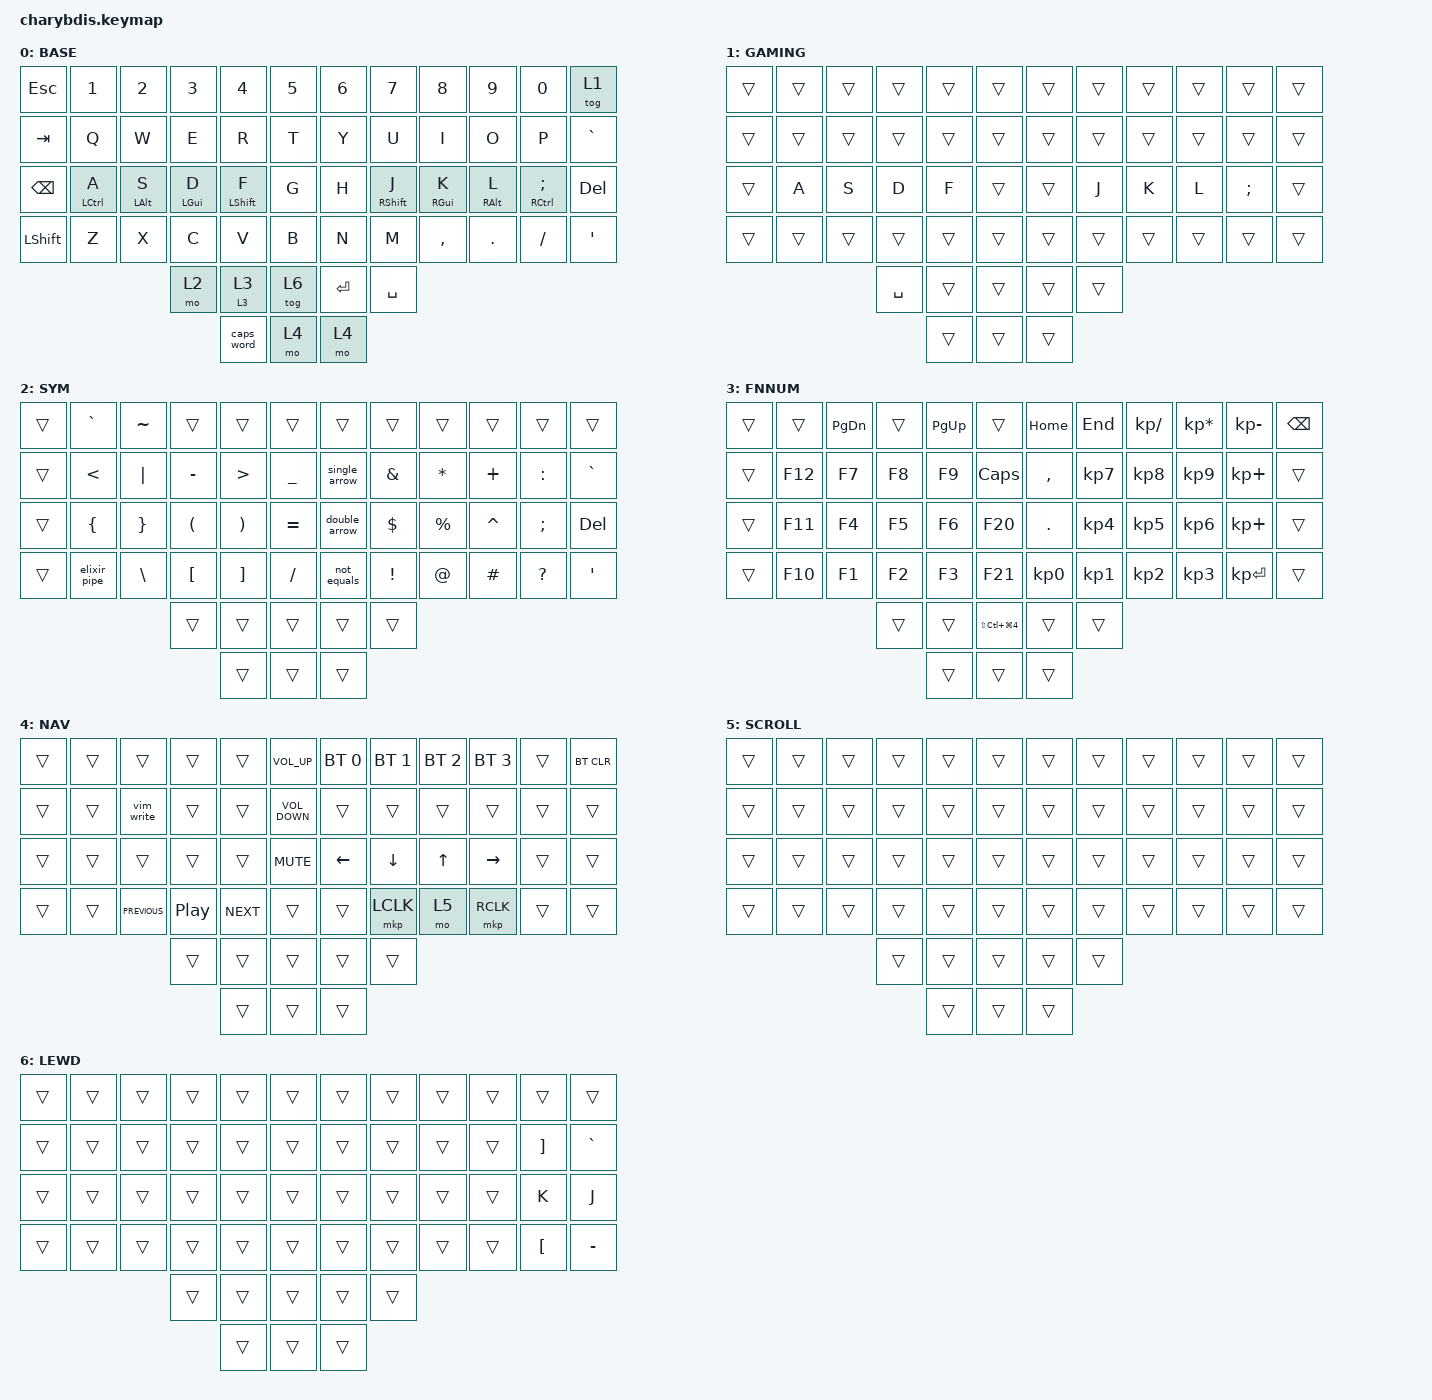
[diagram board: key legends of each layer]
#include <dt-bindings/zmk/mouse.h>
#include <behaviors/mouse_keys.dtsi>
#include <behaviors.dtsi>
#include <dt-bindings/zmk/bt.h>
#include <dt-bindings/zmk/keys.h>
#include <dt-bindings/zmk/pointing.h>

#define Base    0
#define Gaming  1
#define Sym     2
#define FNNum   3
#define Nav     4
#define Scroll  5
#define Lewd    6
// All left/right positions
#define KEYS_L 0  1  2  3  4  5  12 13 14 15 16 17 24 25 26 27 28 29 36 37 38 39 40 41
#define KEYS_R 6  7  8  9  10 11 18 19 20 21 22 23 30 31 32 33 34 35 42 43 44 45 46 47
#define THUMBS 48 49 50 51 52 53 54 55

// Non-HRM keys per side (excludes only the home row mod positions to prevent same-hand roll misfires)
// Left HRMs: A=25 S=26 D=27 F=28 | Right HRMs: J=31 K=32 L=33 SEMI=34
#define KEYS_L_NON_HRM 0 1 2 3 4 5 12 13 14 15 16 17 24 29 36 37 38 39 40 41
#define KEYS_R_NON_HRM 6 7 8 9 10 11 18 19 20 21 22 23 30 35 42 43 44 45 46 47

/ {
    /* trackball as cursor on base and nav layers */

    trackball_listener {
        compatible = "zmk,input-behavior-listener";
        device = <&trackball>;
        layers = <Nav>;
        evt-type = <INPUT_EV_REL>;
        x-input-code = <INPUT_REL_X>;
        y-input-code = <INPUT_REL_Y>;
        scale-multiplier = <1>;
        scale-divisor = <2>;
    };

    trackball_scroll_listener {
        compatible = "zmk,input-behavior-listener";
        device = <&trackball>;
        layers = <Scroll>;
        evt-type = <INPUT_EV_REL>;
        x-input-code = <INPUT_REL_MISC>;
        y-input-code = <INPUT_REL_WHEEL>;
        scale-multiplier = <1>;
        scale-divisor = <8>;
        y-invert;
        bindings = <&ib_wheel_scaler 1 28>;
    };

    ib_wheel_scaler: ib_wheel_scaler {
        compatible = "zmk,input-behavior-scaler";
        #binding-cells = <2>;
        evt-type = <INPUT_EV_REL>;
        input-code = <INPUT_REL_WHEEL>;
    };

    macros {
        vim_write: vim_write {
            compatible = "zmk,behavior-macro";
            #binding-cells = <0>;
            bindings = <&kp COLON &kp W &kp ENTER>;
            label = "VIM_WRITE";
        };

        single_arrow: single_arrow {
            compatible = "zmk,behavior-macro";
            #binding-cells = <0>;
            bindings = <&kp MINUS &kp GREATER_THAN>;
            label = "SINGLE_ARROW";
        };

        double_arrow: double_arrow {
            compatible = "zmk,behavior-macro";
            #binding-cells = <0>;
            bindings = <&kp EQUAL &kp GREATER_THAN>;
            label = "DOUBLE_ARROW";
        };

        elixir_pipe: elixir_pipe {
            compatible = "zmk,behavior-macro";
            #binding-cells = <0>;
            bindings = <&kp PIPE &kp GREATER_THAN>;
            label = "ELIXIR_PIPE";
        };

        not_equals: not_equals {
            compatible = "zmk,behavior-macro";
            #binding-cells = <0>;
            bindings = <&kp EXCLAMATION &kp EQUAL>;
            label = "NOT_EQUALS";
        };
    };

    behaviors {
        hml: home_row_mod_left {
            compatible = "zmk,behavior-hold-tap";
            #binding-cells = <2>;
            flavor = "balanced";
            tapping-term-ms = <250>;
            quick-tap-ms = <175>;
            require-prior-idle-ms = <130>;
            bindings = <&kp>, <&kp>;

            hold-trigger-key-positions = <KEYS_R KEYS_L_NON_HRM THUMBS>;
            hold-trigger-on-release;
        };

        hmr: home_row_mod_right {
            compatible = "zmk,behavior-hold-tap";
            #binding-cells = <2>;
            flavor = "balanced";
            tapping-term-ms = <250>;
            quick-tap-ms = <175>;
            require-prior-idle-ms = <130>;
            bindings = <&kp>, <&kp>;

            hold-trigger-key-positions = <KEYS_L KEYS_R_NON_HRM THUMBS>;
            hold-trigger-on-release;
        };

        mo_tog: mo_tog {
            compatible = "zmk,behavior-hold-tap";
            label = "MO_TOG";
            bindings = <&mo>, <&tog>;

            #binding-cells = <2>;
            tapping-term-ms = <200>;
        };
    };

    keymap {
        compatible = "zmk,keymap";

        Base {
            label = "BASE";
            bindings = <
&kp ESC        &kp N1        &kp N2       &kp N3       &kp N4        &kp N5    &kp N6     &kp N7        &kp N8       &kp N9       &kp N0           &tog 1
&kp TAB        &kp Q         &kp W        &kp E        &kp R         &kp T     &kp Y      &kp U         &kp I        &kp O        &kp P            &kp GRAVE
&kp BACKSPACE  &hml LCTRL A  &hml LALT S  &hml LGUI D  &hml LSHFT F  &kp G     &kp H      &hmr RSHFT J  &hmr RGUI K  &hmr RALT L  &hmr RCTRL SEMI  &kp DEL
&kp LSHFT      &kp Z         &kp X        &kp C        &kp V         &kp B     &kp N      &kp M         &kp COMMA    &kp DOT      &kp FSLH         &kp SINGLE_QUOTE
                                          &mo 2        &mo_tog 3 3   &tog 6    &kp ENTER  &kp SPACE
                                                       &caps_word    &mo 4     &mo 4
            >;
        };

        Gaming {
            label = "GAMING";
            bindings = <
&trans  &trans  &trans  &trans     &trans  &trans    &trans  &trans  &trans  &trans  &trans         &trans
&trans  &trans  &trans  &trans     &trans  &trans    &trans  &trans  &trans  &trans  &trans         &trans
&trans  &kp A   &kp S   &kp D      &kp F   &trans    &trans  &kp J   &kp K   &kp L   &kp SEMICOLON  &trans
&trans  &trans  &trans  &trans     &trans  &trans    &trans  &trans  &trans  &trans  &trans         &trans
                        &kp SPACE  &trans  &trans    &trans  &trans
                                   &trans  &trans    &trans
            >;
        };

        Symbols {
            label = "SYM";
            bindings = <
&trans  &kp GRAVE       &kp TILDE        &trans                &trans                 &trans       &trans         &trans           &trans        &trans     &trans        &trans
&trans  &kp LESS_THAN   &kp PIPE         &kp MINUS             &kp GREATER_THAN       &kp UNDER    &single_arrow  &kp AMPERSAND    &kp ASTERISK  &kp PLUS   &kp COLON     &kp GRAVE
&trans  &kp LEFT_BRACE  &kp RIGHT_BRACE  &kp LEFT_PARENTHESIS  &kp RIGHT_PARENTHESIS  &kp EQUAL    &double_arrow  &kp DOLLAR       &kp PERCENT   &kp CARET  &kp SEMI      &kp DEL
&trans  &elixir_pipe    &kp BSLH         &kp LBKT              &kp RBKT               &kp FSLH     &not_equals    &kp EXCLAMATION  &kp AT        &kp HASH   &kp QUESTION  &kp SQT
                                         &trans                &trans                 &trans       &trans         &trans
                                                               &trans                 &trans       &trans
            >;
        };

        FNNum {
            label = "FNNUM";
            bindings = <
&trans  &trans   &kp PAGE_DOWN  &trans  &kp PAGE_UP  &trans                      &kp HOME         &kp END          &kp KP_DIVIDE    &kp KP_MULTIPLY  &kp KP_SUBTRACT  &kp BACKSPACE
&trans  &kp F12  &kp F7         &kp F8  &kp F9       &kp CAPS                    &kp COMMA        &kp KP_NUMBER_7  &kp KP_NUMBER_8  &kp KP_NUMBER_9  &kp KP_PLUS      &trans
&trans  &kp F11  &kp F4         &kp F5  &kp F6       &kp F20                     &kp PERIOD       &kp KP_NUMBER_4  &kp KP_NUMBER_5  &kp KP_NUMBER_6  &kp KP_PLUS      &trans
&trans  &kp F10  &kp F1         &kp F2  &kp F3       &kp F21                     &kp KP_NUMBER_0  &kp KP_NUMBER_1  &kp KP_NUMBER_2  &kp KP_NUMBER_3  &kp KP_ENTER     &trans
                                &trans  &trans       &kp LS(LC(LG(NUMBER_4)))    &trans           &trans
                                        &trans       &trans                      &trans
            >;
        };

        Nav {
            label = "NAV";
            bindings = <
&trans  &trans  &trans          &trans            &trans      &kp C_VOLUME_UP      &bt BT_SEL 0    &bt BT_SEL 1    &bt BT_SEL 2  &bt BT_SEL 3     &trans  &bt BT_CLR
&trans  &trans  &vim_write      &trans            &trans      &kp C_VOLUME_DOWN    &trans          &trans          &trans        &trans           &trans  &trans
&trans  &trans  &trans          &trans            &trans      &kp C_MUTE           &kp LEFT_ARROW  &kp DOWN_ARROW  &kp UP_ARROW  &kp RIGHT_ARROW  &trans  &trans
&trans  &trans  &kp C_PREVIOUS  &kp C_PLAY_PAUSE  &kp C_NEXT  &trans               &trans          &mkp LCLK       &mo 5         &mkp RCLK        &trans  &trans
                                &trans            &trans      &trans               &trans          &trans
                                                  &trans      &trans               &trans
            >;
        };

        Scroll {
            label = "SCROLL";
            bindings = <
&trans  &trans  &trans  &trans  &trans  &trans    &trans  &trans  &trans  &trans  &trans  &trans
&trans  &trans  &trans  &trans  &trans  &trans    &trans  &trans  &trans  &trans  &trans  &trans
&trans  &trans  &trans  &trans  &trans  &trans    &trans  &trans  &trans  &trans  &trans  &trans
&trans  &trans  &trans  &trans  &trans  &trans    &trans  &trans  &trans  &trans  &trans  &trans
                        &trans  &trans  &trans    &trans  &trans
                                &trans  &trans    &trans
            >;
        };

        Lewd {
            label = "LEWD";
            bindings = <
&trans  &trans  &trans  &trans  &trans  &trans    &trans  &trans  &trans  &trans  &trans             &trans
&trans  &trans  &trans  &trans  &trans  &trans    &trans  &trans  &trans  &trans  &kp RIGHT_BRACKET  &kp GRAVE
&trans  &trans  &trans  &trans  &trans  &trans    &trans  &trans  &trans  &trans  &kp K              &kp J
&trans  &trans  &trans  &trans  &trans  &trans    &trans  &trans  &trans  &trans  &kp LEFT_BRACKET   &kp MINUS
                        &trans  &trans  &trans    &trans  &trans
                                &trans  &trans    &trans
            >;
        };
    };
};
